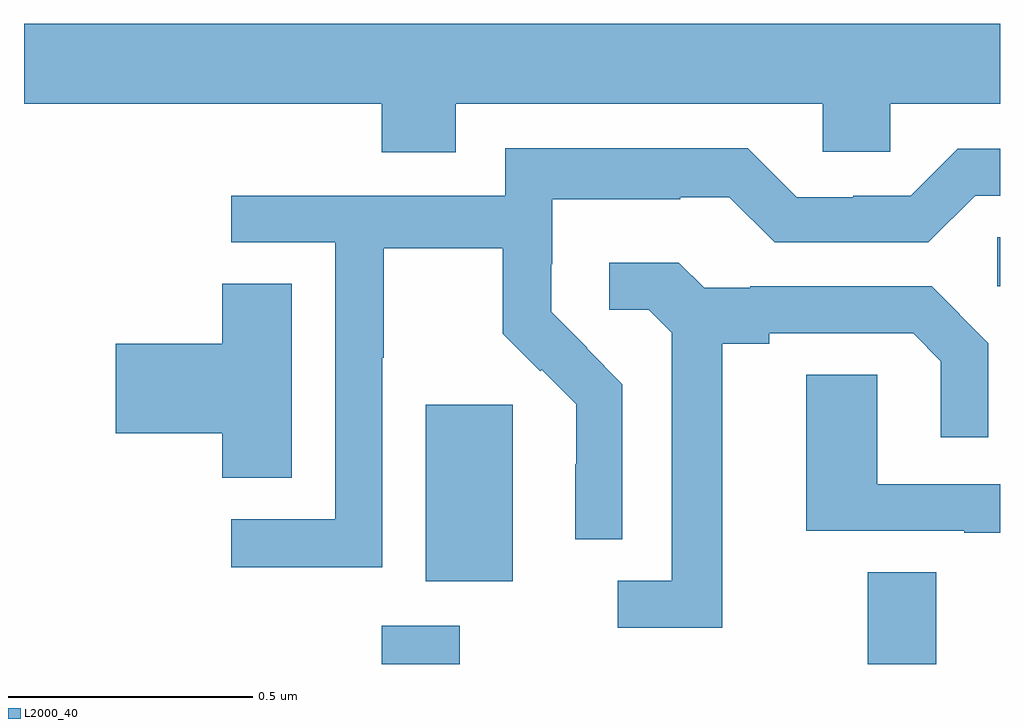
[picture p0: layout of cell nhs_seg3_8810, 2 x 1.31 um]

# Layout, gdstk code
import gdstk
lib = gdstk.Library(unit=1e-6, precision=1e-09)
def R(c, l, rs):  # rectangles x0, y0, x1, y1
    for r in rs: c.add(gdstk.rectangle(r[:2], r[2:], *l))
def P(c, l, *ps):  # polygons
    for p in ps: c.add(gdstk.Polygon(p, *l))
L2000_40 = (2000, 40)

nhs_seg3_8810 = lib.new_cell('nhs_seg3_8810')
R(nhs_seg3_8810, L2000_40, [(220.733,734.4,220.893,734.479), (221.729,734.4,221.869,734.588), (220.823,734.57,221.002,734.931), (221.994,735.174,222,735.275)])
P(nhs_seg3_8810, L2000_40, [(220.885,735.548),(221.637,735.548),(221.637,735.45),(221.775,735.45),(221.775,735.548),(222,735.548),(222,735.712),(220,735.712),(220,735.548),(220.733,735.548),(220.733,735.449),(220.885,735.449)],
  [(220.734,735.028),(220.737,735.028),(220.737,735.252),(220.981,735.252),(220.981,735.077),(221.058,735),(221.061,735.003),(221.132,734.933),(221.132,734.81),(221.13,734.81),(221.13,734.656),(221.226,734.656),(221.226,734.974),(221.153,735.047),(221.154,735.048),(221.08,735.122),(221.08,735.219),(221.082,735.219),(221.082,735.353),(221.345,735.353),(221.345,735.357),(221.445,735.357),(221.538,735.264),(221.853,735.264),(221.949,735.36),(222,735.36),(222,735.456),(221.913,735.456),(221.817,735.36),(221.699,735.36),(221.699,735.357),(221.583,735.357),(221.483,735.457),(220.986,735.457),(220.986,735.36),(220.425,735.36),(220.425,735.264),(220.638,735.264),(220.638,734.697),(220.425,734.697),(220.425,734.599),(220.734,734.599)],
  [(221.431,735.056),(221.527,735.056),(221.527,735.078),(221.822,735.078),(221.879,735.021),(221.879,734.865),(221.976,734.865),(221.976,735.058),(221.86,735.174),(221.488,735.174),(221.488,735.171),(221.394,735.171),(221.342,735.223),(221.199,735.223),(221.199,735.126),(221.28,735.126),(221.327,735.079),(221.327,734.571),(221.217,734.571),(221.217,734.475),(221.431,734.475)],
  [(220.549,735.179),(220.406,735.179),(220.406,735.056),(220.188,735.056),(220.188,734.873),(220.406,734.873),(220.406,734.782),(220.549,734.782)],
  [(222,734.769),(221.748,734.769),(221.748,734.993),(221.603,734.993),(221.603,734.673),(221.927,734.673),(221.927,734.669),(222,734.669)])

lib.write_gds('nhs_seg3_8810.gds')
